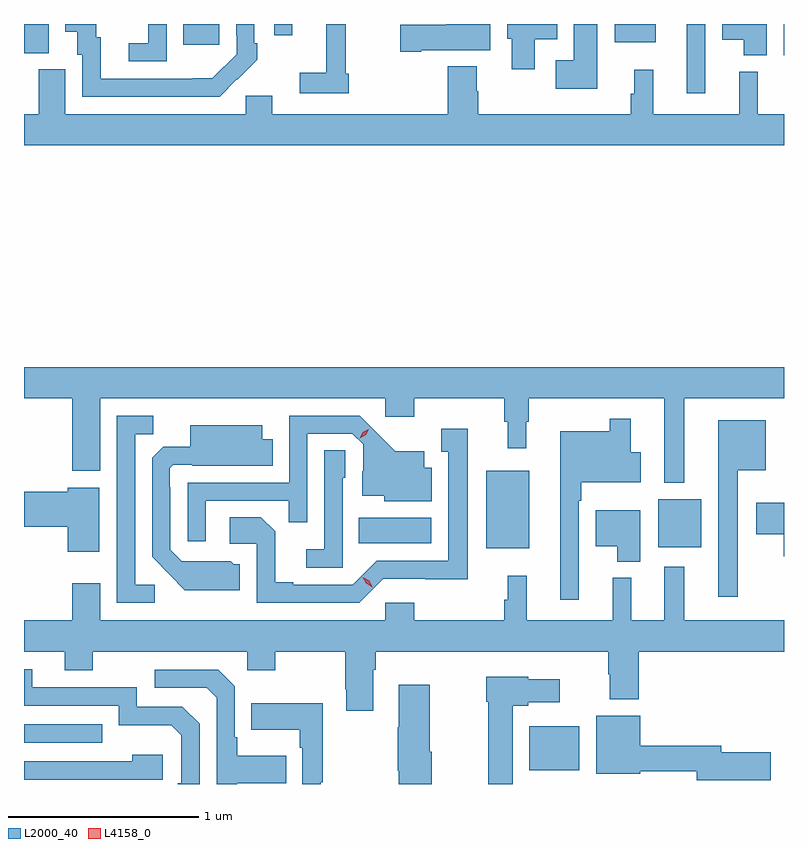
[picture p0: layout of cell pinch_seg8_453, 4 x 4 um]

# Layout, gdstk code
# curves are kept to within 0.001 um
import gdstk
lib = gdstk.Library(unit=1e-6, precision=1e-09)
def R(c, l, rs):  # rectangles x0, y0, x1, y1
    for r in rs: c.add(gdstk.rectangle(r[:2], r[2:], *l))
def P(c, l, *ps):  # polygons
    for p in ps: c.add(gdstk.Polygon(p, *l))
L2000_40 = (2000, 40)
L4158_0 = (4158, 0)

pinch_seg8_453 = lib.new_cell('pinch_seg8_453')
R(pinch_seg8_453, L2000_40, [(198.65,1141.184,198.913,1141.414), (195.99,1141.329,196.403,1141.425), (198.422,1142.351,198.649,1142.761), (199.328,1142.357,199.555,1142.611), (197.752,1142.378,198.133,1142.512), (199.478,1144.746,199.575,1145.111), (199.988,1144.946,199.99,1145.111), (195.99,1144.957,196.12,1145.111), (196.829,1145.001,197.017,1145.111), (199.1,1145.015,199.315,1145.111), (197.307,1145.052,197.403,1145.111)])
P(pinch_seg8_453, L2000_40, [(198.679,1145.03),(198.796,1145.03),(198.796,1145.111),(198.533,1145.111),(198.533,1145.034),(198.557,1145.034),(198.557,1144.872),(198.679,1144.872)],
  [(199.9,1145.111),(199.664,1145.111),(199.664,1145.027),(199.778,1145.027),(199.778,1144.946),(199.9,1144.946)],
  [(197.111,1144.819),(197.112,1144.818),(197.217,1144.923),(197.217,1145.011),(197.202,1145.011),(197.202,1145.111),(197.106,1145.111),(197.106,1145.053),(197.109,1145.053),(197.109,1144.953),(196.981,1144.825),(196.877,1144.824),(196.393,1144.824),(196.393,1145.04),(196.369,1145.04),(196.369,1145.111),(196.208,1145.111),(196.208,1145.069),(196.271,1145.069),(196.271,1144.95),(196.296,1144.95),(196.296,1144.728),(197.02,1144.728)],
  [(196.74,1145.111),(196.644,1145.111),(196.644,1145.01),(196.542,1145.01),(196.542,1144.914),(196.74,1144.914)],
  [(198.082,1144.973),(198.445,1144.973),(198.445,1145.111),(198.212,1145.111),(198.212,1145.108),(197.97,1145.108),(197.97,1144.966),(198.082,1144.966)],
  [(199.006,1145.111),(198.884,1145.111),(198.884,1144.921),(198.789,1144.921),(198.789,1144.769),(199.006,1144.769)],
  [(197.699,1144.849),(197.684,1144.849),(197.684,1145.111),(197.582,1145.111),(197.582,1144.855),(197.442,1144.855),(197.442,1144.746),(197.699,1144.746)],
  [(199.99,1144.636),(199.853,1144.636),(199.853,1144.861),(199.754,1144.861),(199.754,1144.636),(199.301,1144.636),(199.301,1144.87),(199.202,1144.87),(199.202,1144.745),(199.183,1144.745),(199.183,1144.636),(198.381,1144.636),(198.381,1144.757),(198.373,1144.757),(198.373,1144.888),(198.221,1144.888),(198.221,1144.636),(197.296,1144.636),(197.296,1144.734),(197.157,1144.734),(197.157,1144.636),(196.207,1144.636),(196.207,1144.872),(196.067,1144.872),(196.067,1144.636),(195.99,1144.636),(195.99,1144.472),(199.99,1144.472)],
  [(199.465,1143.14),(199.99,1143.14),(199.99,1143.304),(195.99,1143.304),(195.99,1143.14),(196.243,1143.14),(196.243,1142.76),(196.39,1142.76),(196.39,1143.14),(197.892,1143.14),(197.892,1143.045),(198.044,1143.045),(198.044,1143.14),(198.517,1143.14),(198.517,1143.017),(198.536,1143.017),(198.536,1142.877),(198.634,1142.877),(198.634,1143.017),(198.646,1143.017),(198.646,1143.14),(199.361,1143.14),(199.361,1142.696),(199.465,1142.696)],
  [(196.947,1142.601),(197.383,1142.601),(197.383,1142.488),(197.481,1142.488),(197.481,1142.955),(197.718,1142.955),(197.775,1142.898),(197.775,1142.756),(197.771,1142.756),(197.771,1142.627),(197.886,1142.627),(197.886,1142.6),(198.136,1142.6),(198.136,1142.776),(198.097,1142.776),(198.097,1142.863),(197.945,1142.863),(197.758,1143.048),(197.385,1143.048),(197.385,1142.697),(196.851,1142.697),(196.851,1142.388),(196.947,1142.388)],
  [(196.678,1142.16),(196.575,1142.16),(196.575,1142.953),(196.671,1142.953),(196.671,1143.048),(196.479,1143.048),(196.479,1142.064),(196.678,1142.064)],
  [(198.909,1142.603),(198.922,1142.603),(198.922,1142.699),(199.237,1142.699),(199.237,1142.857),(199.183,1142.857),(199.183,1143.034),(199.074,1143.034),(199.074,1142.968),(198.812,1142.968),(198.812,1142.082),(198.909,1142.082)],
  [(199.747,1142.762),(199.894,1142.762),(199.894,1143.025),(199.643,1143.025),(199.643,1142.097),(199.747,1142.097)],
  [(197.125,1142.268),(197.094,1142.268),(197.078,1142.284),(196.821,1142.283),(196.761,1142.343),(196.761,1142.672),(196.758,1142.672),(196.758,1142.772),(196.776,1142.79),(196.876,1142.79),(196.876,1142.786),(197.3,1142.786),(197.3,1142.926),(197.245,1142.926),(197.245,1142.998),(196.865,1142.998),(196.865,1142.887),(196.724,1142.887),(196.665,1142.828),(196.665,1142.306),(196.837,1142.132),(197.125,1142.132)],
  [(197.88,1142.19),(198.325,1142.189),(198.325,1142.98),(198.185,1142.98),(198.185,1142.859),(198.224,1142.859),(198.224,1142.286),(197.847,1142.286),(197.721,1142.16),(197.407,1142.16),(197.407,1142.173),(197.313,1142.173),(197.313,1142.44),(197.237,1142.516),(197.073,1142.516),(197.073,1142.376),(197.214,1142.376),(197.214,1142.064),(197.754,1142.064)],
  [(197.667,1142.724),(197.682,1142.724),(197.682,1142.867),(197.571,1142.867),(197.571,1142.347),(197.475,1142.347),(197.475,1142.25),(197.667,1142.25)],
  [(196.387,1142.671),(196.22,1142.671),(196.22,1142.648),(195.99,1142.648),(195.99,1142.465),(196.22,1142.465),(196.22,1142.334),(196.387,1142.334)],
  [(199.99,1142.59),(199.845,1142.59),(199.845,1142.425),(199.988,1142.425),(199.988,1142.309),(199.99,1142.309)],
  [(199.234,1142.551),(198.998,1142.551),(198.998,1142.363),(199.112,1142.363),(199.112,1142.282),(199.234,1142.282)],
  [(197.827,1141.712),(197.84,1141.712),(197.84,1141.808),(199.066,1141.808),(199.066,1141.688),(199.073,1141.688),(199.073,1141.556),(199.226,1141.556),(199.226,1141.808),(199.99,1141.808),(199.99,1141.972),(199.465,1141.972),(199.465,1142.254),(199.361,1142.254),(199.361,1141.972),(199.186,1141.972),(199.186,1142.197),(199.088,1142.197),(199.088,1141.972),(198.635,1141.972),(198.635,1142.206),(198.536,1142.206),(198.536,1142.081),(198.517,1142.081),(198.517,1141.972),(198.044,1141.972),(198.044,1142.065),(197.892,1142.065),(197.892,1141.972),(196.39,1141.972),(196.39,1142.167),(196.243,1142.167),(196.243,1141.972),(195.99,1141.972),(195.99,1141.808),(196.205,1141.808),(196.205,1141.709),(196.353,1141.709),(196.353,1141.808),(197.166,1141.808),(197.166,1141.709),(197.313,1141.709),(197.313,1141.808),(197.68,1141.808),(197.68,1141.609),(197.687,1141.609),(197.687,1141.497),(197.827,1141.497)],
  [(196.914,1141.428),(196.824,1141.518),(196.584,1141.518),(196.584,1141.62),(196.033,1141.62),(196.033,1141.716),(195.99,1141.716),(195.99,1141.524),(196.488,1141.524),(196.488,1141.421),(196.765,1141.421),(196.818,1141.368),(196.818,1141.114),(196.798,1141.114),(196.798,1141.111),(196.914,1141.111)],
  [(197.113,1141.114),(197.369,1141.114),(197.369,1141.261),(197.113,1141.261),(197.113,1141.357),(197.1,1141.357),(197.1,1141.626),(197.013,1141.713),(196.677,1141.713),(196.677,1141.617),(196.953,1141.617),(197.004,1141.566),(197.004,1141.111),(197.113,1141.111)],
  [(198.562,1141.523),(198.645,1141.523),(198.645,1141.541),(198.811,1141.541),(198.811,1141.663),(198.645,1141.663),(198.645,1141.675),(198.422,1141.675),(198.422,1141.545),(198.433,1141.545),(198.433,1141.111),(198.562,1141.111)],
  [(198.136,1141.281),(198.126,1141.281),(198.126,1141.633),(197.963,1141.633),(197.963,1141.409),(197.956,1141.409),(197.956,1141.181),(197.963,1141.181),(197.963,1141.111),(198.136,1141.111)],
  [(197.551,1141.121),(197.563,1141.121),(197.563,1141.537),(197.185,1141.537),(197.185,1141.397),(197.442,1141.397),(197.442,1141.301),(197.454,1141.301),(197.454,1141.111),(197.551,1141.111)],
  [(199.921,1141.277),(199.66,1141.277),(199.66,1141.313),(199.234,1141.313),(199.234,1141.471),(199.001,1141.471),(199.001,1141.166),(199.234,1141.166),(199.234,1141.177),(199.532,1141.177),(199.532,1141.13),(199.921,1141.13)],
  [(196.72,1141.264),(196.559,1141.264),(196.559,1141.23),(195.99,1141.23),(195.99,1141.134),(196.72,1141.134)])
P(pinch_seg8_453, L4158_0, [(197.822,1142.147),(197.791,1142.167),(197.774,1142.199),(197.774,1142.2),(197.774,1142.2),(197.806,1142.18),(197.823,1142.148),(197.823,1142.147)],
  [(197.758,1142.932),(197.758,1142.932),(197.774,1142.962),(197.805,1142.978),(197.805,1142.978),(197.805,1142.977),(197.788,1142.948),(197.758,1142.932)])

lib.write_gds('pinch_seg8_453.gds')
